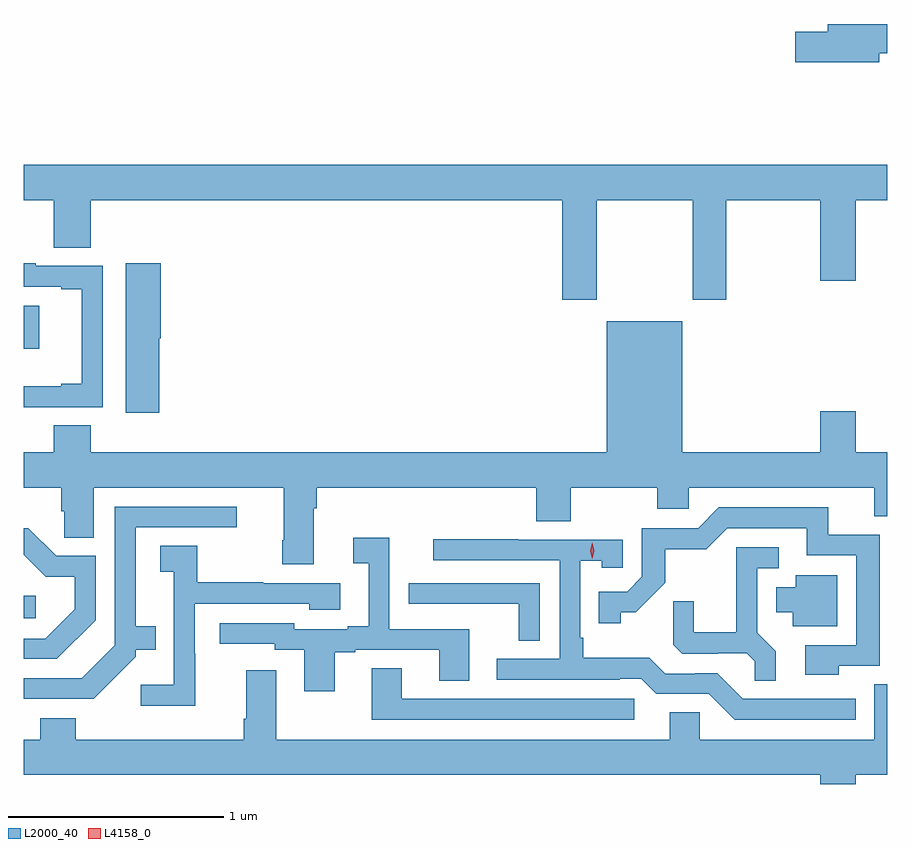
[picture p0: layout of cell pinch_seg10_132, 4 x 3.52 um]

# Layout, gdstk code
import gdstk
lib = gdstk.Library(unit=1e-6, precision=1e-09)
def R(c, l, rs):  # rectangles x0, y0, x1, y1
    for r in rs: c.add(gdstk.rectangle(r[:2], r[2:], *l))
def P(c, l, *ps):  # polygons
    for p in ps: c.add(gdstk.Polygon(p, *l))
L2000_40 = (2000, 40)
L4158_0 = (4158, 0)

pinch_seg10_132 = lib.new_cell('pinch_seg10_132')
R(pinch_seg10_132, L2000_40, [(700.777,1277.067,700.831,1277.17), (700.777,1278.314,700.849,1278.514)])
P(pinch_seg10_132, L2000_40, [(704.74,1279.684),(704.777,1279.684),(704.777,1279.82),(704.501,1279.82),(704.501,1279.784),(704.352,1279.784),(704.352,1279.642),(704.74,1279.642)],
  [(703.431,1279.004),(703.876,1279.004),(703.876,1278.543),(704.031,1278.543),(704.031,1279.004),(704.468,1279.004),(704.468,1278.63),(704.632,1278.63),(704.632,1279.004),(704.777,1279.004),(704.777,1279.168),(700.777,1279.168),(700.777,1279.004),(700.916,1279.004),(700.916,1278.784),(701.087,1278.784),(701.087,1279.004),(703.271,1279.004),(703.271,1278.543),(703.431,1278.543)],
  [(700.832,1278.045),(701.142,1278.045),(701.142,1278.699),(700.832,1278.699),(700.832,1278.712),(700.777,1278.712),(700.777,1278.603),(700.949,1278.603),(700.949,1278.591),(701.045,1278.591),(701.045,1278.154),(700.949,1278.154),(700.949,1278.141),(700.777,1278.141),(700.777,1278.044),(700.832,1278.044)],
  [(701.405,1278.363),(701.41,1278.363),(701.41,1278.712),(701.249,1278.712),(701.249,1278.018),(701.405,1278.018)],
  [(702.121,1277.576),(702.134,1277.576),(702.134,1277.672),(703.151,1277.672),(703.151,1277.515),(703.311,1277.515),(703.311,1277.672),(703.711,1277.672),(703.711,1277.574),(703.857,1277.574),(703.857,1277.672),(704.717,1277.672),(704.717,1277.539),(704.777,1277.539),(704.777,1277.836),(704.632,1277.836),(704.632,1278.025),(704.468,1278.025),(704.468,1277.836),(703.828,1277.836),(703.828,1278.442),(703.478,1278.442),(703.478,1277.836),(701.087,1277.836),(701.087,1277.96),(700.916,1277.96),(700.916,1277.836),(700.777,1277.836),(700.777,1277.672),(700.949,1277.672),(700.949,1277.562),(700.963,1277.562),(700.963,1277.44),(701.101,1277.44),(701.101,1277.672),(701.981,1277.672),(701.981,1277.428),(701.974,1277.428),(701.974,1277.316),(702.121,1277.316)],
  [(701.295,1276.887),(701.295,1276.919),(701.387,1276.919),(701.387,1277.029),(701.296,1277.029),(701.296,1277.487),(701.764,1277.487),(701.764,1277.583),(701.199,1277.583),(701.199,1276.941),(701.046,1276.788),(700.777,1276.788),(700.777,1276.692),(701.1,1276.692)],
  [(704.553,1276.845),(704.743,1276.845),(704.743,1277.454),(704.504,1277.454),(704.504,1277.58),(703.998,1277.58),(703.902,1277.484),(703.641,1277.484),(703.641,1277.259),(703.572,1277.19),(703.441,1277.19),(703.441,1277.043),(703.542,1277.043),(703.542,1277.093),(703.612,1277.093),(703.75,1277.23),(703.75,1277.386),(703.939,1277.386),(704.037,1277.484),(704.405,1277.484),(704.405,1277.358),(704.634,1277.358),(704.634,1276.941),(704.397,1276.941),(704.397,1276.805),(704.553,1276.805)],
  [(701.109,1277.057),(701.109,1277.355),(700.926,1277.355),(700.798,1277.483),(700.777,1277.483),(700.777,1277.36),(700.879,1277.258),(701.012,1277.258),(701.012,1277.108),(700.875,1276.971),(700.777,1276.971),(700.777,1276.878),(700.93,1276.878)],
  [(702.217,1276.908),(702.313,1276.908),(702.313,1276.92),(702.701,1276.92),(702.701,1276.777),(702.841,1276.777),(702.841,1277.016),(702.471,1277.016),(702.471,1277.44),(702.303,1277.44),(702.303,1277.32),(702.374,1277.32),(702.374,1277.029),(702.278,1277.029),(702.278,1277.016),(702.03,1277.016),(702.03,1277.043),(701.685,1277.043),(701.685,1276.947),(701.94,1276.947),(701.94,1276.92),(702.077,1276.92),(702.077,1276.728),(702.217,1276.728)],
  [(704.632,1276.692),(704.109,1276.692),(703.989,1276.812),(703.888,1276.812),(703.888,1276.809),(703.749,1276.809),(703.676,1276.882),(703.369,1276.882),(703.369,1276.975),(703.356,1276.975),(703.356,1277.333),(703.455,1277.333),(703.455,1277.301),(703.551,1277.301),(703.551,1277.43),(703.067,1277.43),(703.067,1277.433),(702.675,1277.433),(702.675,1277.334),(703.26,1277.334),(703.26,1276.878),(702.969,1276.878),(702.969,1276.782),(703.538,1276.782),(703.538,1276.785),(703.638,1276.785),(703.707,1276.716),(703.95,1276.716),(704.07,1276.596),(704.632,1276.596)],
  [(701.571,1276.901),(701.568,1276.901),(701.568,1277.133),(702.099,1277.133),(702.099,1277.105),(702.244,1277.105),(702.244,1277.229),(701.885,1277.229),(701.885,1277.232),(701.581,1277.232),(701.581,1277.402),(701.409,1277.402),(701.409,1277.281),(701.472,1277.281),(701.472,1276.759),(701.319,1276.759),(701.319,1276.661),(701.571,1276.661)],
  [(704.261,1276.913),(704.175,1276.999),(704.175,1277.298),(704.275,1277.298),(704.275,1277.394),(704.078,1277.394),(704.078,1277.002),(703.88,1277.002),(703.88,1277.145),(703.786,1277.145),(703.786,1276.943),(703.827,1276.902),(703.992,1276.902),(703.992,1276.905),(704.126,1276.905),(704.163,1276.868),(704.163,1276.777),(704.261,1276.777)],
  [(704.545,1277.266),(704.354,1277.266),(704.354,1277.209),(704.264,1277.209),(704.264,1277.093),(704.339,1277.093),(704.339,1277.03),(704.545,1277.03)],
  [(703.167,1277.229),(702.561,1277.229),(702.561,1277.134),(702.673,1277.134),(702.673,1277.133),(703.069,1277.133),(703.069,1276.963),(703.167,1276.963)],
  [(703.606,1276.692),(702.529,1276.692),(702.529,1276.835),(702.389,1276.835),(702.389,1276.596),(703.606,1276.596)],
  [(704.632,1276.34),(704.777,1276.34),(704.777,1276.76),(704.717,1276.76),(704.717,1276.504),(703.908,1276.504),(703.908,1276.631),(703.769,1276.631),(703.769,1276.504),(701.947,1276.504),(701.947,1276.825),(701.807,1276.825),(701.807,1276.6),(701.795,1276.6),(701.795,1276.504),(701.018,1276.504),(701.018,1276.603),(700.853,1276.603),(700.853,1276.504),(700.777,1276.504),(700.777,1276.34),(704.468,1276.34),(704.468,1276.298),(704.632,1276.298)])
P(pinch_seg10_132, L4158_0, [(703.41,1277.343),(703.401,1277.379),(703.41,1277.414),(703.411,1277.415),(703.411,1277.414),(703.421,1277.379),(703.411,1277.343),(703.411,1277.343)])

lib.write_gds('pinch_seg10_132.gds')
